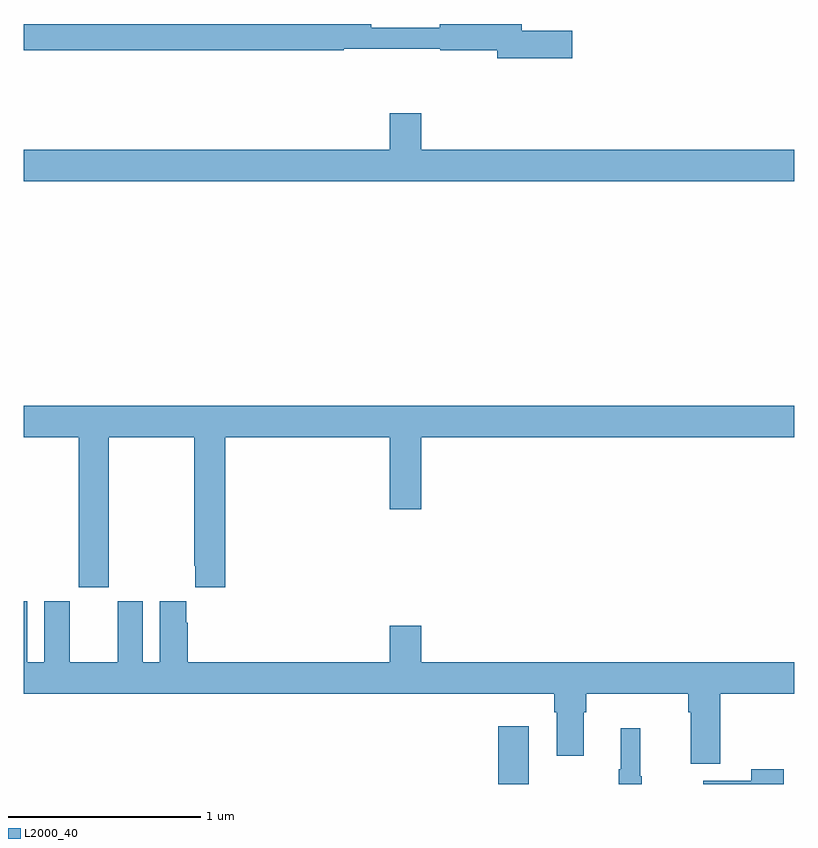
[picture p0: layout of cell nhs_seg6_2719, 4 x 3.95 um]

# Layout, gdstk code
import gdstk
lib = gdstk.Library(unit=1e-6, precision=1e-09)
def R(c, l, rs):  # rectangles x0, y0, x1, y1
    for r in rs: c.add(gdstk.rectangle(r[:2], r[2:], *l))
def P(c, l, *ps):  # polygons
    for p in ps: c.add(gdstk.Polygon(p, *l))
L2000_40 = (2000, 40)

nhs_seg6_2719 = lib.new_cell('nhs_seg6_2719')
R(nhs_seg6_2719, L2000_40, [(273.464,981.5,273.622,981.799)])
P(nhs_seg6_2719, L2000_40, [(273.847,985.412),(273.586,985.412),(273.586,985.448),(273.16,985.448),(273.16,985.429),(272.804,985.429),(272.804,985.448),(271,985.448),(271,985.312),(272.662,985.312),(272.662,985.32),(273.162,985.32),(273.162,985.312),(273.458,985.312),(273.458,985.27),(273.847,985.27)],
  [(275,984.796),(273.064,984.796),(273.064,984.985),(272.9,984.985),(272.9,984.796),(271,984.796),(271,984.632),(275,984.632)],
  [(271.44,983.3),(271.885,983.3),(271.885,982.633),(271.889,982.633),(271.889,982.521),(272.045,982.521),(272.045,983.3),(272.9,983.3),(272.9,982.926),(273.064,982.926),(273.064,983.3),(275,983.3),(275,983.464),(271,983.464),(271,983.3),(271.285,983.3),(271.285,982.521),(271.44,982.521)],
  [(274.616,981.968),(275,981.968),(275,982.132),(273.064,982.132),(273.064,982.321),(272.9,982.321),(272.9,982.132),(271.85,982.132),(271.85,982.337),(271.843,982.337),(271.843,982.45),(271.706,982.45),(271.706,982.132),(271.618,982.132),(271.618,982.45),(271.487,982.45),(271.487,982.132),(271.237,982.132),(271.237,982.45),(271.106,982.45),(271.106,982.132),(271.018,982.132),(271.018,982.45),(271,982.45),(271,981.968),(273.755,981.968),(273.755,981.872),(273.767,981.872),(273.767,981.648),(273.907,981.648),(273.907,981.872),(273.92,981.872),(273.92,981.968),(274.451,981.968),(274.451,981.872),(274.463,981.872),(274.463,981.606),(274.616,981.606)],
  [(274.21,981.54),(274.202,981.54),(274.202,981.79),(274.1,981.79),(274.1,981.577),(274.089,981.577),(274.089,981.5),(274.21,981.5)],
  [(274.948,981.577),(274.778,981.577),(274.778,981.517),(274.529,981.517),(274.529,981.5),(274.948,981.5)])

lib.write_gds('nhs_seg6_2719.gds')
